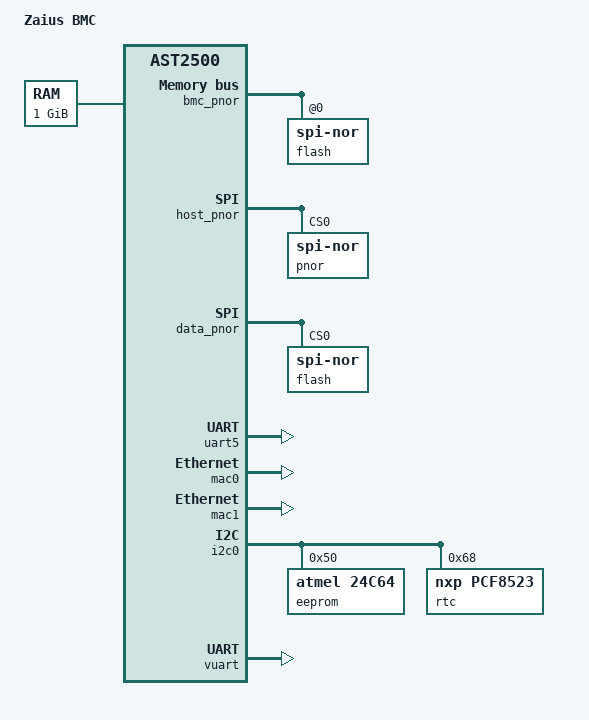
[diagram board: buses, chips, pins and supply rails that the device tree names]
/dts-v1/;

#include "aspeed-g5.dtsi"

/ {
	model = "Zaius BMC";
	compatible = "ingrasys,zaius-bmc", "aspeed,ast2500";

	aliases {
		serial4 = &uart5;
	};

	chosen {
		stdout-path = &uart5;
		bootargs = "console=ttyS4,115200 earlyprintk";
	};

	memory {
		reg = <0x80000000 0x40000000>;
	};

	ahb {
		bmc_pnor: fmc@1e620000 {
			reg = < 0x1e620000 0xc4
				0x20000000 0x04000000 >;
			#address-cells = <1>;
			#size-cells = <0>;
			compatible = "aspeed,ast2500-fmc";
			flash@0 {
				reg = < 0 >;
				compatible = "jedec,spi-nor" ;
#include "aspeed-bmc-opp-flash-layout.dtsi"
			};
		};

		host_pnor: spi@1e630000 {
			reg = < 0x1e630000 0xc4
				0x30000000 0x04000000 >;
			#address-cells = <1>;
			#size-cells = <0>;
			compatible = "aspeed,ast2500-smc";
			flash@0 {
				reg = < 0 >;
				compatible = "jedec,spi-nor" ;
				label = "pnor";
			};
		};

		data_pnor: spi@1e631000 {
			reg = < 0x1e631000 0xc4
				0x38000000 0x00800000 >;
			#address-cells = <1>;
			#size-cells = <0>;
			compatible = "aspeed,ast2500-smc";
			flash@0 {
				reg = < 0 >;
				compatible = "jedec,spi-nor" ;
			};
		};
	};
};

&uart5 {
	status = "okay";
};

&mac0 {
	status = "okay";

	pinctrl-names = "default";
	pinctrl-0 = <&pinctrl_rgmii1_default>;
	use-ncsi;
};

&mac1 {
	status = "okay";

	pinctrl-names = "default";
	pinctrl-0 = <&pinctrl_rgmii2_default>;
};

&i2c0 {
	status = "okay";

	eeprom@50 {
		compatible = "atmel,24c64";
		reg = <0x50>;
		pagesize = <32>;
	};

	rtc@68 {
		compatible = "nxp,pcf8523";
		reg = <0x68>;
	};

	/* Power sequencer UCD90160 PMBUS @64h
	 * FRU AT24C64D @50h
	 * RTC PCF8523 @68h
	 * Clock buffer 9DBL04 @6dh
	 */
};

&i2c1 {
	status = "disabled";

	/* MUX1 PCA9546A @71h
	 *   PCIe 0
	 *   PCIe 1
	 *   PCIe 2
	 *   TPM header
	 */
};

&i2c2 {
	status = "disabled";

	/* OCP Mezz Connector A (OOB SMBUS) */
};

&i2c3 {
	status = "disabled";

	/* OCP Mezz Connector A (PCIe slot SMBUS) */
};

&i2c4 {
	status = "disabled";

	/* MUX1 PCA9546A @71h
	 *   PCIe 3
	 *   PCIe 4
	 */
};


&i2c5 {
	status = "disabled";

	/* CPU0 PRM 0.7V */
	/* CPU0 PRM 1.2V CH03 */
	/* CPU0 PRM 0.8V */
	/* CPU0 PRM 1.2V CH47 */
};

&i2c6 {
	status = "disabled";

	/* CPU1 PRM 0.7V */
	/* CPU1 PRM 1.2V CH03 */
	/* CPU1 PRM 0.8V */
	/* CPU1 PRM 1.2V CH47 */
};

&i2c7 {
	status = "disabled";

	/* MUX PCA9541A (other master: CPU0 PCIe 1)
	 *   ADM1272 PMBUS @10h
	 */
	/* 12V SMPS Q54SH12050NNDH @61h */
	/* CPU0 VR ISL68137 0.7V, 0.96V PMBUS @64h */
	/* CPU0 VR ISL68137 1.2V CH03 PMBUS @40h */
	/* CPU0 VR ISL68137 0.8V PMBUS @60h */
	/* CPU0 VR 1.0V IR38064 I2C @11h, PMBUS @41h */
	/* CPU0 VR ISL68137 1.2V CH47 PMBUS @41h */
};

&i2c8 {
	status = "disabled";

	/* CPU1 VR ISL68137 0.7V, 0.96V PMBUS @65h */
	/* CPU1 VR ISL68137 1.2V CH03 PMBUS @44h */
	/* CPU1 VR ISL68137 0.8V PMBUS @61h */
	/* CPU1 VR 1.0V IR38064 I2C @12h, PMBUS @42h */
	/* CPU0 VR ISL68137 1.2V CH47 PMBUS @45h */
};


&i2c9 {
	status = "disabled";

	/* Fan board */
};

&i2c10 {
	status = "disabled";
};

&i2c11 {
	status = "disabled";

	/* GPU sideband */
};

&i2c12 {
	status = "disabled";
};

&i2c13 {
	status = "disabled";

	/* MUX PI3USB102
	 *   CPU0 debug
	 *   CPU1 debug
	 */
};

&vuart {
	status = "okay";
};
